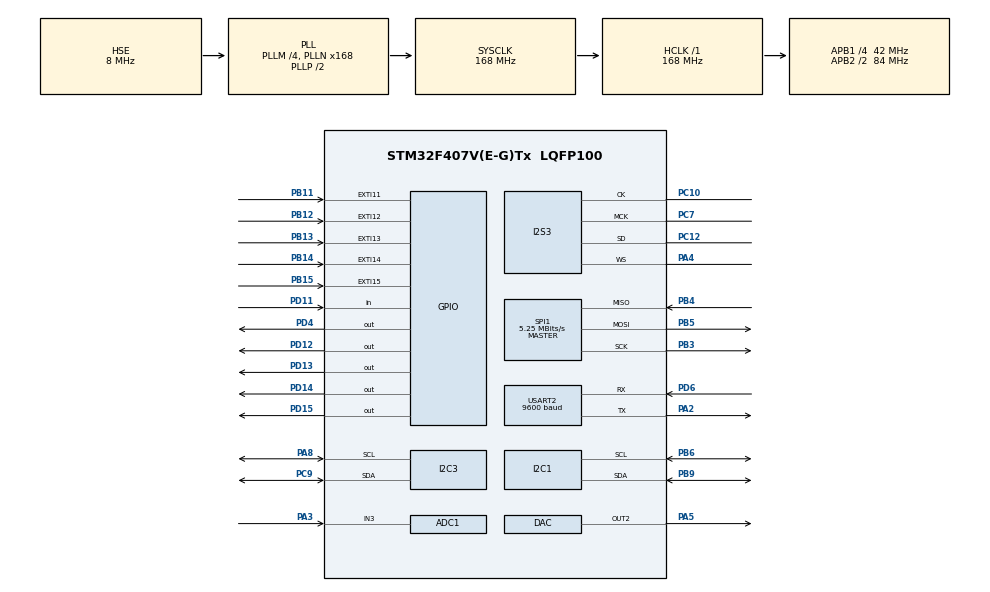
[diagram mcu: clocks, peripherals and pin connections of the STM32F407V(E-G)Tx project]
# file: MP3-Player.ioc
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ADC1.Channel-0\#ChannelRegularConversion=ADC_CHANNEL_3
ADC1.ClockPrescaler=ADC_CLOCK_SYNC_PCLK_DIV6
ADC1.ContinuousConvMode=ENABLE
ADC1.DMAContinuousRequests=ENABLE
ADC1.NbrOfConversionFlag=1
ADC1.Rank-0\#ChannelRegularConversion=1
ADC1.SamplingTime-0\#ChannelRegularConversion=ADC_SAMPLETIME_56CYCLES
ADC1.ScanConvMode=DISABLE
ADC1.master=1
Dma.ADC1.0.Direction=DMA_PERIPH_TO_MEMORY
Dma.ADC1.0.FIFOMode=DMA_FIFOMODE_DISABLE
Dma.ADC1.0.Instance=DMA2_Stream0
Dma.ADC1.0.MemDataAlignment=DMA_MDATAALIGN_HALFWORD
Dma.ADC1.0.MemInc=DMA_MINC_ENABLE
Dma.ADC1.0.Mode=DMA_CIRCULAR
Dma.ADC1.0.PeriphDataAlignment=DMA_PDATAALIGN_HALFWORD
Dma.ADC1.0.PeriphInc=DMA_PINC_DISABLE
Dma.ADC1.0.Priority=DMA_PRIORITY_LOW
Dma.Request0=ADC1
Dma.Request1=SPI3_TX
Dma.SPI3_TX.1.Direction=DMA_MEMORY_TO_PERIPH
Dma.SPI3_TX.1.FIFOMode=DMA_FIFOMODE_DISABLE
Dma.SPI3_TX.1.Instance=DMA1_Stream5
Dma.SPI3_TX.1.MemDataAlignment=DMA_MDATAALIGN_HALFWORD
Dma.SPI3_TX.1.MemInc=DMA_MINC_ENABLE
Dma.SPI3_TX.1.Mode=DMA_CIRCULAR
Dma.SPI3_TX.1.PeriphDataAlignment=DMA_PDATAALIGN_HALFWORD
Dma.SPI3_TX.1.PeriphInc=DMA_PINC_DISABLE
Dma.SPI3_TX.1.Priority=DMA_PRIORITY_LOW
I2S3.AudioFreq=I2S_AUDIOFREQ_44K
I2S3.ErrorAudioFreq=0.26 %
I2S3.FullDuplexMode=I2S_FULLDUPLEXMODE_DISABLE
I2S3.Instance=SPI$Index
I2S3.RealAudioFreq=44.117 KHz
I2S3.VirtualMode=I2S_MODE_MASTER
Mcu.Family=STM32F4
Mcu.Name=STM32F407V(E-G)Tx
Mcu.Package=LQFP100
NVIC.ADC_IRQn=true\:0\:0\:false\:false\:true\:true\:true
NVIC.DMA1_Stream5_IRQn=true\:0\:0\:false\:false\:true\:false\:true
NVIC.DMA2_Stream0_IRQn=true\:0\:0\:false\:false\:true\:false\:true
NVIC.EXTI15_10_IRQn=true\:1\:0\:true\:false\:true\:true\:true
NVIC.I2C3_ER_IRQn=true\:0\:0\:false\:false\:true\:true\:true
NVIC.I2C3_EV_IRQn=true\:0\:0\:false\:false\:true\:true\:true
NVIC.PriorityGroup=NVIC_PRIORITYGROUP_4
NVIC.TIM4_IRQn=true\:1\:0\:true\:false\:true\:true\:true
NVIC.TIM6_DAC_IRQn=true\:0\:0\:false\:false\:true\:true\:true
NVIC.USART2_IRQn=true\:1\:0\:true\:false\:true\:true\:true
PA2.Mode=Asynchronous
PA2.Signal=USART2_TX
PA3.Signal=ADCx_IN3
PA4.Mode=Half_Duplex_Master
PA4.Signal=I2S3_WS
PA5.Signal=COMP_DAC2_group
PA8.Mode=I2C
PA8.Signal=I2C3_SCL
PB11.GPIO_ModeDefaultEXTI=GPIO_MODE_IT_RISING_FALLING
PB11.GPIO_PuPd=GPIO_PULLUP
PB11.Signal=GPXTI11
PB12.GPIO_ModeDefaultEXTI=GPIO_MODE_IT_RISING_FALLING
PB12.GPIO_PuPd=GPIO_PULLUP
PB12.Signal=GPXTI12
PB13.GPIO_ModeDefaultEXTI=GPIO_MODE_IT_RISING_FALLING
PB13.GPIO_PuPd=GPIO_PULLUP
PB13.Signal=GPXTI13
PB14.GPIO_ModeDefaultEXTI=GPIO_MODE_IT_RISING_FALLING
PB14.GPIO_PuPd=GPIO_PULLUP
PB14.Signal=GPXTI14
PB15.GPIO_ModeDefaultEXTI=GPIO_MODE_IT_RISING_FALLING
PB15.GPIO_PuPd=GPIO_PULLUP
PB15.Signal=GPXTI15
PB3.Mode=Full_Duplex_Master
PB3.Signal=SPI1_SCK
PB4.Mode=Full_Duplex_Master
PB4.Signal=SPI1_MISO
PB5.Mode=Full_Duplex_Master
PB5.Signal=SPI1_MOSI
PB6.Mode=I2C
PB6.Signal=I2C1_SCL
PB9.Mode=I2C
PB9.Signal=I2C1_SDA
PC10.Mode=Half_Duplex_Master
PC10.Signal=I2S3_CK
PC12.Mode=Half_Duplex_Master
PC12.Signal=I2S3_SD
PC7.Mode=Master_Clock_Activated
PC7.Signal=I2S3_MCK
PC9.Mode=I2C
PC9.Signal=I2C3_SDA
PD11.Signal=GPIO_Input
PD12.Signal=GPIO_Output
PD13.Signal=GPIO_Output
PD14.Signal=GPIO_Output
PD15.Signal=GPIO_Output
PD4.Signal=GPIO_Output
PD6.Mode=Asynchronous
PD6.Signal=USART2_RX
PH0-OSC_IN.Mode=HSE-External-Oscillator
PH0-OSC_IN.Signal=RCC_OSC_IN
PH1-OSC_OUT.Mode=HSE-External-Oscillator
PH1-OSC_OUT.Signal=RCC_OSC_OUT
ProjectManager.HeapSize=0x200
ProjectManager.StackSize=0x400
ProjectManager.TargetToolchain=STM32CubeIDE
RCC.48MHZClocksFreq_Value=112000000
RCC.AHBFreq_Value=168000000
RCC.APB1CLKDivider=RCC_HCLK_DIV4
RCC.APB1Freq_Value=42000000
RCC.APB1TimFreq_Value=84000000
RCC.APB2CLKDivider=RCC_HCLK_DIV2
RCC.APB2Freq_Value=84000000
RCC.APB2TimFreq_Value=168000000
RCC.CortexFreq_Value=168000000
RCC.HCLKFreq_Value=168000000
RCC.HSE_VALUE=8000000
RCC.HSI_VALUE=16000000
RCC.LSE_VALUE=32768
RCC.PLLM=4
RCC.PLLN=168
RCC.PLLQ=3
RCC.PLLSourceVirtual=RCC_PLLSOURCE_HSE
RCC.SYSCLKFreq_VALUE=168000000
RCC.SYSCLKSource=RCC_SYSCLKSOURCE_PLLCLK
RCC.VCOOutputFreq_Value=336000000
SH.ADCx_IN3.0=ADC1_IN3,IN3
SH.COMP_DAC2_group.0=DAC_OUT2,DAC_OUT2
SPI1.BaudRatePrescaler=SPI_BAUDRATEPRESCALER_16
SPI1.CalculateBaudRate=5.25 MBits/s
SPI1.Direction=SPI_DIRECTION_2LINES
SPI1.Mode=SPI_MODE_MASTER
SPI1.VirtualType=VM_MASTER
TIM4.Period=14
TIM4.Prescaler=126
TIM6.Period=114
TIM6.Prescaler=126
TIM6.TIM_MasterOutputTrigger=TIM_TRGO_UPDATE
USART2.BaudRate=9600
USART2.VirtualMode=VM_ASYNC
VP_TIM4_VS_ClockSourceINT.Mode=Internal
VP_TIM6_VS_ClockSourceINT.Mode=Enable_Timer
board=custom

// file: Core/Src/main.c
/* USER CODE BEGIN Header */
/**
  ******************************************************************************
  * @file           : main.c
  * @brief          : Main program body
  ******************************************************************************
  * @attention
  *
  * <h2><center>&copy; Copyright (c) 2020 STMicroelectronics.
  * All rights reserved.</center></h2>
  *
  * This software component is licensed by ST under BSD 3-Clause license,
  * the "License"; You may not use this file except in compliance with the
  * License. You may obtain a copy of the License at:
  *                        opensource.org/licenses/BSD-3-Clause
  *
  ******************************************************************************
  */
/* USER CODE END Header */

#include "main.h"

/* USER CODE BEGIN Includes */
#include "string.h"
#include <stdio.h>
#include"ff.h"
#include "lcd.h"

/* USER CODE END Includes */

/* USER CODE BEGIN PD */
#define BUFSIZE 1024
/* USER CODE END PD */

ADC_HandleTypeDef hadc1;
DMA_HandleTypeDef hdma_adc1;

DAC_HandleTypeDef hdac;

I2C_HandleTypeDef hi2c1;
I2C_HandleTypeDef hi2c3;

I2S_HandleTypeDef hi2s3;
DMA_HandleTypeDef hdma_spi3_tx;

SPI_HandleTypeDef hspi1;

TIM_HandleTypeDef htim4;
TIM_HandleTypeDef htim6;

UART_HandleTypeDef huart2;

/* USER CODE BEGIN PV */

static FATFS FatFs;    //uchwyt do urządzenia FatFs (dysku, karty SD...)
FRESULT fresult;  //do przechowywania wyniku operacji na bibliotece

volatile FIL file;
WORD bytes_written;

WORD bytes_read;           //liczba odczytanych byte

uint8_t receiveUART[1];
uint16_t sizeReceiveUART = 1;
int i=0;
int j=-1;
uint8_t indeks_glosnosci = 4;
double glosnosc_guziczki [10] = {0,0.25,0.5,1,2,4,8,10,15,20};
uint16_t value[1];
uint8_t sizeutwor;
uint8_t bluecon;
uint16_t potencjometr;

double glosnosc;
double glosnosc2;
uint8_t zrodlo_gloscnoci=0;

DIR dir;

uint8_t eof;
char utwor[20];
uint8_t stan = 1; //0 pauza 1 start

uint16_t nr_utworu=0;

volatile uint8_t buf[BUFSIZE];
volatile uint8_t buf2[BUFSIZE];
uint8_t aktualny_bufor = 0;

/* USER CODE END PV */

void SystemClock_Config(void);
static void MX_GPIO_Init(void);
static void MX_DMA_Init(void);
static void MX_ADC1_Init(void);
static void MX_I2C3_Init(void);
static void MX_TIM6_Init(void);
static void MX_USART2_UART_Init(void);
static void MX_TIM4_Init(void);
static void MX_SPI1_Init(void);
static void MX_DAC_Init(void);
static void MX_I2C1_Init(void);
static void MX_I2S3_Init(void);
/* USER CODE BEGIN PFP */

void read_song(){

FRESULT res;
    DIR dir;
    UINT i=0;
    UINT z;

    static FILINFO fno;

		res = f_opendir(&dir, "/");
    	if (res == FR_OK) {

  	  	  	do{
            		res = f_readdir(&dir, &fno);
            		if (res != FR_OK || fno.fname[0] == 0) {i=1; break;}
            		printf("%s\n", fno.fname);
                	z = strlen(fno.fname);
                	i++;
            	}
            	while(i<=nr_utworu ||(fno.fname[z-1]!='V') || (fno.fname[z-2]!='A')|| (fno.fname[z-3]!='W'));
  	  	  	//||
  	  	  	//(fno.fname[z-1]!='3') || (fno.fname[z-2]!='P')|| (fno.fname[z-3]!='M')
  	  	  		sprintf(utwor,"%s",fno.fname);
  	  	  		nr_utworu=i-1;
  	  	  		if(nr_utworu==0)read_song();
            	}

    			sizeutwor = strlen(utwor);
               	return;
}

void next(){
	HAL_TIM_Base_Stop_IT(&htim4);
	f_close(&file);
	nr_utworu++;
	read_song();
	fresult = f_open(&file, &utwor , FA_READ|FA_OPEN_EXISTING);
	f_read(&file, &buf, BUFSIZE, &bytes_read);
	i=0;
	j=0;
	 lcd_clear ();
	lcd_put_cur(0, 0);
	lcd_send_string(&utwor);
	lcd_put_cur(1, 0);
	lcd_send_string("PLAY");
	if(bluecon==1)
	HAL_UART_Transmit_IT(&huart2, &utwor, sizeutwor);

	 HAL_TIM_Base_Start_IT(&htim4);
}

void prev(){
	HAL_TIM_Base_Stop_IT(&htim4);
	f_close(&file);
	nr_utworu--;
	read_song();
	fresult = f_open(&file, &utwor , FA_READ|FA_OPEN_EXISTING);
	f_read(&file, &buf, BUFSIZE, &bytes_read);
	i=0;
	j=0;
	 lcd_clear ();
	lcd_put_cur(0, 0);
	lcd_send_string(&utwor);
	lcd_put_cur(1, 0);
	lcd_send_string("PLAY");
	if(bluecon==1)
	HAL_UART_Transmit_IT(&huart2, &utwor, sizeutwor);

	HAL_TIM_Base_Start_IT(&htim4);
}
/*void HAL_ADC_ConvCpltCallback(ADC_HandleTypeDef* hadc){
	if(hadc->Instance == hadc1.Instance){
		  	  if(value[0]>0 && value[0] <= 410) indeks_glosnosci = 0;
		  	  else if(value[0]>410 && value[0] <= 819) indeks_glosnosci = 1;
		  	  else if(value[0]>819 && value[0] <= 1228) indeks_glosnosci = 2;
		  	else if(value[0]>1228 && value[0] <= 1647) indeks_glosnosci = 3;
		  	else if(value[0]>1647 && value[0] <= 2058) indeks_glosnosci = 4;
		  	else if(value[0]>2058 && value[0] <= 2467) indeks_glosnosci = 5;
		  	else if(value[0]>2467 && value[0] <= 2876) indeks_glosnosci = 6;
		  	else if(value[0]>2876 && value[0] <= 3285) indeks_glosnosci = 7;
		  	else if(value[0]>3285 && value[0] <= 3692) indeks_glosnosci = 8;
		  	else if(value[0]>3692 && value[0] <= 4095) indeks_glosnosci = 9;
	}
}*/

void HAL_ADC_ConvCpltCallback(ADC_HandleTypeDef* hadc){

	if(hadc->Instance == hadc1.Instance){

		if(abs( potencjometr - value[0] ) > 10){
			if(stan==0){
			zrodlo_gloscnoci=1;

			// lcd_put_cur(1, 0);
			// lcd_send_string("                ");
			 lcd_put_cur(1, 5);
			 lcd_send_string("VOLUME: ");
			}
		}
		potencjometr = value[0];

	}
}

void HAL_GPIO_EXTI_Callback(uint16_t GPIO_Pin){

	 if(HAL_GPIO_ReadPin(GPIOB, GPIO_PIN_11) == GPIO_PIN_RESET){

		 //ciszej

		 if(indeks_glosnosci>0 && indeks_glosnosci<=9) {indeks_glosnosci--; zrodlo_gloscnoci=0;}

		  	}

	 if(HAL_GPIO_ReadPin(GPIOB, GPIO_PIN_12) == GPIO_PIN_RESET){
			  		//prev song
		prev();

			}
	 if(HAL_GPIO_ReadPin(GPIOB, GPIO_PIN_13) == GPIO_PIN_RESET){

		 //pause/start

		 if(stan==1){
		//HAL_TIM_Base_Start(&htim6);
		//HAL_DAC_Start_DMA(&hdac, DAC_CHANNEL_1, &buf, BUFSIZE, DAC_ALIGN_12B_R);

		lcd_clear();
		lcd_put_cur(0, 0);
		lcd_send_string(&utwor);
		lcd_put_cur(1, 0);
		lcd_send_string("PLAY");

		HAL_TIM_Base_Start_IT(&htim4);
		 //HAL_TIM_Base_Start_IT(&htim7);
		 stan = 0;
		 }
		 else
		 {

			 lcd_clear();
			 lcd_put_cur(1, 0);
			 lcd_send_string("PAUSE");
			 //HAL_TIM_Base_Start(&htim6);
			HAL_TIM_Base_Stop_IT(&htim4);
			 stan=1;
		 }

	 		}
	 if(HAL_GPIO_ReadPin(GPIOB, GPIO_PIN_14) == GPIO_PIN_RESET){
		 	next();

		 	}
	 if(HAL_GPIO_ReadPin(GPIOB, GPIO_PIN_15) == GPIO_PIN_RESET){

		 //glosniej

		 if(indeks_glosnosci>=0 && indeks_glosnosci<9)
					 indeks_glosnosci++;
				 	 zrodlo_gloscnoci=0;
					 	}
	 HAL_Delay(200);

}

void HAL_TIM_PeriodElapsedCallback(TIM_HandleTypeDef *htim){
	if(htim->Instance == TIM4)
	{
		switch (zrodlo_gloscnoci){
				case 0:
					glosnosc= glosnosc_guziczki[indeks_glosnosci];
					break;
				case 1:
					glosnosc = (value[0]/500);

					break;

				}

		if(aktualny_bufor==0){
					HAL_DAC_SetValue(&hdac,DAC_CHANNEL_2,DAC_ALIGN_12B_R,buf[i]*glosnosc);
					//HAL_I2S_Transmit(&hi2s2, &buf[i], BUFSIZE,100);
					eof=f_eof(&file);
					if(eof ==0) f_read(&file, &buf2[i],1, &bytes_read);
					else {next();}
					i++;
					if(i==BUFSIZE){
						aktualny_bufor = 1;
						j=0;
						//HAL_TIM_Base_Start_IT(&htim7);*glosnosc_guziczki[indeks_glosnosci]
					}
				}

			if(aktualny_bufor==1){
				HAL_DAC_SetValue(&hdac,DAC_CHANNEL_2,DAC_ALIGN_12B_R,buf2[j]*glosnosc);
				//HAL_I2S_Transmit(&hi2s2, &buf2[j], BUFSIZE,100);
				eof=f_eof(&file);
				if(eof ==0) f_read(&file, &buf[j],1, &bytes_read);
				else {next();}
				j++;
				if(j==BUFSIZE){
					aktualny_bufor = 0;
					i=0;
					//HAL_TIM_Base_Start_IT(&htim7);
				}
			}
		/*if(i<BUFSIZE){
			HAL_DAC_SetValue(&hdac,DAC_CHANNEL_1,DAC_ALIGN_12B_R,buf[i]);
			i++;
			}
			else bufforek();*/

	}

}

void HAL_UART_RxCpltCallback(UART_HandleTypeDef*huart)
	{
		if(huart->Instance == USART2)
			{

			HAL_UART_Receive_IT(&huart2, receiveUART, sizeReceiveUART);
			if(receiveUART[0]==72){
				bluecon = 1;
			}
			if(receiveUART[0]==65){
							HAL_GPIO_TogglePin(GPIOD, GPIO_PIN_12);
							prev();
						}
						if(receiveUART[0]==66){

							HAL_GPIO_TogglePin(GPIOD, GPIO_PIN_13);
							if(stan==1){
								HAL_UART_Transmit_IT(&huart2, &utwor, sizeutwor);
									lcd_clear();
									lcd_put_cur(0, 0);
									lcd_send_string(&utwor);
									lcd_put_cur(1, 0);
									lcd_send_string("PLAY");
									 HAL_TIM_Base_Start_IT(&htim4);
									 stan = 0;
									 }
									 else
									 {
										 lcd_clear();
										 lcd_put_cur(1, 0);
										 lcd_send_string("PAUSE");
										 HAL_TIM_Base_Stop_IT(&htim4);
										 stan=1;
									 }
									}
						if(receiveUART[0]==67){
							HAL_GPIO_TogglePin(GPIOD, GPIO_PIN_14);
										next();
									}
			}
	}
/*
void HAL_TIM_TriggerCallback(TIM_HandleTypeDef *htim){
	if(htim->Instance == TIM6)
		{
			i++;

			if(i>=BUFSIZE){
				HAL_DAC_Stop_DMA(&hdac, DAC_CHANNEL_1);
				if(aktualny_bufor==0){
					f_read(&file, &buf2,BUFSIZE, &bytes_read);
					HAL_DAC_Start_DMA(&hdac, DAC_CHANNEL_1, &buf, BUFSIZE, DAC_ALIGN_12B_R);
				}
				else if(aktualny_bufor==1){
					f_read(&file, &buf,BUFSIZE, &bytes_read);
					HAL_DAC_Start_DMA(&hdac, DAC_CHANNEL_1, &buf2, BUFSIZE, DAC_ALIGN_12B_R);
				}
			}
		}
}*/
/* USER CODE END PFP */

int main(void)
{

  /* MCU Configuration--------------------------------------------------------*/

  /* Reset of all peripherals, Initializes the Flash interface and the Systick. */
  HAL_Init();

  /* Configure the system clock */
  SystemClock_Config();

  /* Initialize all configured peripherals */
  MX_GPIO_Init();
  MX_DMA_Init();
  MX_ADC1_Init();
  MX_I2C3_Init();
  MX_TIM6_Init();
  MX_USART2_UART_Init();
  MX_TIM4_Init();
  MX_SPI1_Init();
  MX_DAC_Init();
  MX_I2C1_Init();
  MX_I2S3_Init();
  /* USER CODE BEGIN 2 */

  HAL_DAC_Start(&hdac,DAC_CHANNEL_2);

  	  	HAL_UART_Receive_IT(&huart2, receiveUART, sizeReceiveUART);
    	fresult = f_mount(&FatFs, "", 1);
    	read_song();
        fresult = f_open(&file, &utwor , FA_READ|FA_OPEN_EXISTING|FA_OPEN_ALWAYS);
        fresult = f_read(&file, &buf2, 352, &bytes_read);
    	HAL_ADC_Start_DMA(&hadc1, (uint32_t*)value, 1);
        f_read(&file, &buf,BUFSIZE, &bytes_read);
        HAL_ADC_Start(&hadc1);
        potencjometr = HAL_ADC_GetValue(&hadc1);

        lcd_init();

        lcd_clear();

  /* USER CODE END 2 */

  /* Infinite loop */
  /* USER CODE BEGIN WHILE */
  while (1)
  {
	 // lcd_send_string("Hello");
	     //lcd_send_cmd(0x80 | 0x03);

    /* USER CODE END WHILE */

  }
}

void SystemClock_Config(void)
{
  RCC_OscInitTypeDef RCC_OscInitStruct = {0};
  RCC_ClkInitTypeDef RCC_ClkInitStruct = {0};
  RCC_PeriphCLKInitTypeDef PeriphClkInitStruct = {0};

  /** Configure the main internal regulator output voltage
  */
  __HAL_RCC_PWR_CLK_ENABLE();
  __HAL_PWR_VOLTAGESCALING_CONFIG(PWR_REGULATOR_VOLTAGE_SCALE1);
  /** Initializes the CPU, AHB and APB busses clocks
  */
  RCC_OscInitStruct.OscillatorType = RCC_OSCILLATORTYPE_HSE;
  RCC_OscInitStruct.HSEState = RCC_HSE_ON;
  RCC_OscInitStruct.PLL.PLLState = RCC_PLL_ON;
  RCC_OscInitStruct.PLL.PLLSource = RCC_PLLSOURCE_HSE;
  RCC_OscInitStruct.PLL.PLLM = 4;
  RCC_OscInitStruct.PLL.PLLN = 168;
  RCC_OscInitStruct.PLL.PLLP = RCC_PLLP_DIV2;
  RCC_OscInitStruct.PLL.PLLQ = 3;
  if (HAL_RCC_OscConfig(&RCC_OscInitStruct) != HAL_OK)
  {
    Error_Handler();
  }
  /** Initializes the CPU, AHB and APB busses clocks
  */
  RCC_ClkInitStruct.ClockType = RCC_CLOCKTYPE_HCLK|RCC_CLOCKTYPE_SYSCLK
                              |RCC_CLOCKTYPE_PCLK1|RCC_CLOCKTYPE_PCLK2;
  RCC_ClkInitStruct.SYSCLKSource = RCC_SYSCLKSOURCE_PLLCLK;
  RCC_ClkInitStruct.AHBCLKDivider = RCC_SYSCLK_DIV1;
  RCC_ClkInitStruct.APB1CLKDivider = RCC_HCLK_DIV4;
  RCC_ClkInitStruct.APB2CLKDivider = RCC_HCLK_DIV2;

  if (HAL_RCC_ClockConfig(&RCC_ClkInitStruct, FLASH_LATENCY_5) != HAL_OK)
  {
    Error_Handler();
  }
  PeriphClkInitStruct.PeriphClockSelection = RCC_PERIPHCLK_I2S;
  PeriphClkInitStruct.PLLI2S.PLLI2SN = 192;
  PeriphClkInitStruct.PLLI2S.PLLI2SR = 2;
  if (HAL_RCCEx_PeriphCLKConfig(&PeriphClkInitStruct) != HAL_OK)
  {
    Error_Handler();
  }
}

static void MX_ADC1_Init(void)
{

  ADC_ChannelConfTypeDef sConfig = {0};

  /** Configure the global features of the ADC (Clock, Resolution, Data Alignment and number of conversion)
  */
  hadc1.Instance = ADC1;
  hadc1.Init.ClockPrescaler = ADC_CLOCK_SYNC_PCLK_DIV6;
  hadc1.Init.Resolution = ADC_RESOLUTION_12B;
  hadc1.Init.ScanConvMode = DISABLE;
  hadc1.Init.ContinuousConvMode = ENABLE;
  hadc1.Init.DiscontinuousConvMode = DISABLE;
  hadc1.Init.ExternalTrigConvEdge = ADC_EXTERNALTRIGCONVEDGE_NONE;
  hadc1.Init.ExternalTrigConv = ADC_SOFTWARE_START;
  hadc1.Init.DataAlign = ADC_DATAALIGN_RIGHT;
  hadc1.Init.NbrOfConversion = 1;
  hadc1.Init.DMAContinuousRequests = ENABLE;
  hadc1.Init.EOCSelection = ADC_EOC_SINGLE_CONV;
  if (HAL_ADC_Init(&hadc1) != HAL_OK)
  {
    Error_Handler();
  }
  /** Configure for the selected ADC regular channel its corresponding rank in the sequencer and its sample time.
  */
  sConfig.Channel = ADC_CHANNEL_3;
  sConfig.Rank = 1;
  sConfig.SamplingTime = ADC_SAMPLETIME_56CYCLES;
  if (HAL_ADC_ConfigChannel(&hadc1, &sConfig) != HAL_OK)
  {
    Error_Handler();
  }

}

static void MX_DAC_Init(void)
{

  DAC_ChannelConfTypeDef sConfig = {0};

  /** DAC Initialization
  */
  hdac.Instance = DAC;
  if (HAL_DAC_Init(&hdac) != HAL_OK)
  {
    Error_Handler();
  }
  /** DAC channel OUT2 config
  */
  sConfig.DAC_Trigger = DAC_TRIGGER_NONE;
  sConfig.DAC_OutputBuffer = DAC_OUTPUTBUFFER_ENABLE;
  if (HAL_DAC_ConfigChannel(&hdac, &sConfig, DAC_CHANNEL_2) != HAL_OK)
  {
    Error_Handler();
  }

}

static void MX_I2C1_Init(void)
{

  hi2c1.Instance = I2C1;
  hi2c1.Init.ClockSpeed = 100000;
  hi2c1.Init.DutyCycle = I2C_DUTYCYCLE_2;
  hi2c1.Init.OwnAddress1 = 0;
  hi2c1.Init.AddressingMode = I2C_ADDRESSINGMODE_7BIT;
  hi2c1.Init.DualAddressMode = I2C_DUALADDRESS_DISABLE;
  hi2c1.Init.OwnAddress2 = 0;
  hi2c1.Init.GeneralCallMode = I2C_GENERALCALL_DISABLE;
  hi2c1.Init.NoStretchMode = I2C_NOSTRETCH_DISABLE;
  if (HAL_I2C_Init(&hi2c1) != HAL_OK)
  {
    Error_Handler();
  }

}

static void MX_I2C3_Init(void)
{

  hi2c3.Instance = I2C3;
  hi2c3.Init.ClockSpeed = 100000;
  hi2c3.Init.DutyCycle = I2C_DUTYCYCLE_2;
  hi2c3.Init.OwnAddress1 = 0;
  hi2c3.Init.AddressingMode = I2C_ADDRESSINGMODE_7BIT;
  hi2c3.Init.DualAddressMode = I2C_DUALADDRESS_DISABLE;
  hi2c3.Init.OwnAddress2 = 0;
  hi2c3.Init.GeneralCallMode = I2C_GENERALCALL_DISABLE;
  hi2c3.Init.NoStretchMode = I2C_NOSTRETCH_DISABLE;
  if (HAL_I2C_Init(&hi2c3) != HAL_OK)
  {
    Error_Handler();
  }

}

static void MX_I2S3_Init(void)
{

  hi2s3.Instance = SPI3;
  hi2s3.Init.Mode = I2S_MODE_MASTER_TX;
  hi2s3.Init.Standard = I2S_STANDARD_PHILIPS;
  hi2s3.Init.DataFormat = I2S_DATAFORMAT_16B;
  hi2s3.Init.MCLKOutput = I2S_MCLKOUTPUT_ENABLE;
  hi2s3.Init.AudioFreq = I2S_AUDIOFREQ_44K;
  hi2s3.Init.CPOL = I2S_CPOL_LOW;
  hi2s3.Init.ClockSource = I2S_CLOCK_PLL;
  hi2s3.Init.FullDuplexMode = I2S_FULLDUPLEXMODE_DISABLE;
  if (HAL_I2S_Init(&hi2s3) != HAL_OK)
  {
    Error_Handler();
  }

}

static void MX_SPI1_Init(void)
{

  /* SPI1 parameter configuration*/
  hspi1.Instance = SPI1;
  hspi1.Init.Mode = SPI_MODE_MASTER;
  hspi1.Init.Direction = SPI_DIRECTION_2LINES;
  hspi1.Init.DataSize = SPI_DATASIZE_8BIT;
  hspi1.Init.CLKPolarity = SPI_POLARITY_LOW;
  hspi1.Init.CLKPhase = SPI_PHASE_1EDGE;
  hspi1.Init.NSS = SPI_NSS_SOFT;
  hspi1.Init.BaudRatePrescaler = SPI_BAUDRATEPRESCALER_16;
  hspi1.Init.FirstBit = SPI_FIRSTBIT_MSB;
  hspi1.Init.TIMode = SPI_TIMODE_DISABLE;
  hspi1.Init.CRCCalculation = SPI_CRCCALCULATION_DISABLE;
  hspi1.Init.CRCPolynomial = 10;
  if (HAL_SPI_Init(&hspi1) != HAL_OK)
  {
    Error_Handler();
  }

}

static void MX_TIM4_Init(void)
{

  TIM_ClockConfigTypeDef sClockSourceConfig = {0};
  TIM_MasterConfigTypeDef sMasterConfig = {0};

  htim4.Instance = TIM4;
  htim4.Init.Prescaler = 126;
  htim4.Init.CounterMode = TIM_COUNTERMODE_UP;
  htim4.Init.Period = 14;
  htim4.Init.ClockDivision = TIM_CLOCKDIVISION_DIV1;
  htim4.Init.AutoReloadPreload = TIM_AUTORELOAD_PRELOAD_DISABLE;
  if (HAL_TIM_Base_Init(&htim4) != HAL_OK)
  {
    Error_Handler();
  }
  sClockSourceConfig.ClockSource = TIM_CLOCKSOURCE_INTERNAL;
  if (HAL_TIM_ConfigClockSource(&htim4, &sClockSourceConfig) != HAL_OK)
  {
    Error_Handler();
  }
  sMasterConfig.MasterOutputTrigger = TIM_TRGO_RESET;
  sMasterConfig.MasterSlaveMode = TIM_MASTERSLAVEMODE_DISABLE;
  if (HAL_TIMEx_MasterConfigSynchronization(&htim4, &sMasterConfig) != HAL_OK)
  {
    Error_Handler();
  }

}

static void MX_TIM6_Init(void)
{

  TIM_MasterConfigTypeDef sMasterConfig = {0};

  htim6.Instance = TIM6;
  htim6.Init.Prescaler = 126;
  htim6.Init.CounterMode = TIM_COUNTERMODE_UP;
  htim6.Init.Period = 114;
  htim6.Init.AutoReloadPreload = TIM_AUTORELOAD_PRELOAD_DISABLE;
  if (HAL_TIM_Base_Init(&htim6) != HAL_OK)
  {
    Error_Handler();
  }
  sMasterConfig.MasterOutputTrigger = TIM_TRGO_UPDATE;
  sMasterConfig.MasterSlaveMode = TIM_MASTERSLAVEMODE_DISABLE;
  if (HAL_TIMEx_MasterConfigSynchronization(&htim6, &sMasterConfig) != HAL_OK)
  {
    Error_Handler();
  }

}

static void MX_USART2_UART_Init(void)
{

  huart2.Instance = USART2;
  huart2.Init.BaudRate = 9600;
  huart2.Init.WordLength = UART_WORDLENGTH_8B;
  huart2.Init.StopBits = UART_STOPBITS_1;
  huart2.Init.Parity = UART_PARITY_NONE;
  huart2.Init.Mode = UART_MODE_TX_RX;
  huart2.Init.HwFlowCtl = UART_HWCONTROL_NONE;
  huart2.Init.OverSampling = UART_OVERSAMPLING_16;
  if (HAL_UART_Init(&huart2) != HAL_OK)
  {
    Error_Handler();
  }

}

static void MX_DMA_Init(void)
{

  /* DMA controller clock enable */
  __HAL_RCC_DMA2_CLK_ENABLE();
  __HAL_RCC_DMA1_CLK_ENABLE();

  /* DMA interrupt init */
  /* DMA1_Stream5_IRQn interrupt configuration */
  HAL_NVIC_SetPriority(DMA1_Stream5_IRQn, 0, 0);
  HAL_NVIC_EnableIRQ(DMA1_Stream5_IRQn);
  /* DMA2_Stream0_IRQn interrupt configuration */
  HAL_NVIC_SetPriority(DMA2_Stream0_IRQn, 0, 0);
  HAL_NVIC_EnableIRQ(DMA2_Stream0_IRQn);

}

static void MX_GPIO_Init(void)
{
  GPIO_InitTypeDef GPIO_InitStruct = {0};

  /* GPIO Ports Clock Enable */
  __HAL_RCC_GPIOH_CLK_ENABLE();
  __HAL_RCC_GPIOA_CLK_ENABLE();
  __HAL_RCC_GPIOB_CLK_ENABLE();
  __HAL_RCC_GPIOD_CLK_ENABLE();
  __HAL_RCC_GPIOC_CLK_ENABLE();

  /*Configure GPIO pin Output Level */
  HAL_GPIO_WritePin(GPIOD, GPIO_PIN_12|GPIO_PIN_13|GPIO_PIN_14|GPIO_PIN_15
                          |GPIO_PIN_4, GPIO_PIN_RESET);

  /*Configure GPIO pins : PB11 PB12 PB13 PB14
                           PB15 */
  GPIO_InitStruct.Pin = GPIO_PIN_11|GPIO_PIN_12|GPIO_PIN_13|GPIO_PIN_14
                          |GPIO_PIN_15;
  GPIO_InitStruct.Mode = GPIO_MODE_IT_RISING_FALLING;
  GPIO_InitStruct.Pull = GPIO_PULLUP;
  HAL_GPIO_Init(GPIOB, &GPIO_InitStruct);

  /*Configure GPIO pin : PD11 */
  GPIO_InitStruct.Pin = GPIO_PIN_11;
  GPIO_InitStruct.Mode = GPIO_MODE_INPUT;
  GPIO_InitStruct.Pull = GPIO_NOPULL;
  HAL_GPIO_Init(GPIOD, &GPIO_InitStruct);

  /*Configure GPIO pins : PD12 PD13 PD14 PD15
                           PD4 */
  GPIO_InitStruct.Pin = GPIO_PIN_12|GPIO_PIN_13|GPIO_PIN_14|GPIO_PIN_15
                          |GPIO_PIN_4;
  GPIO_InitStruct.Mode = GPIO_MODE_OUTPUT_PP;
  GPIO_InitStruct.Pull = GPIO_NOPULL;
  GPIO_InitStruct.Speed = GPIO_SPEED_FREQ_LOW;
  HAL_GPIO_Init(GPIOD, &GPIO_InitStruct);

  /* EXTI interrupt init*/
  HAL_NVIC_SetPriority(EXTI15_10_IRQn, 1, 0);
  HAL_NVIC_EnableIRQ(EXTI15_10_IRQn);

}

void Error_Handler(void)
{
}

/************************ (C) COPYRIGHT STMicroelectronics *****END OF FILE****/
